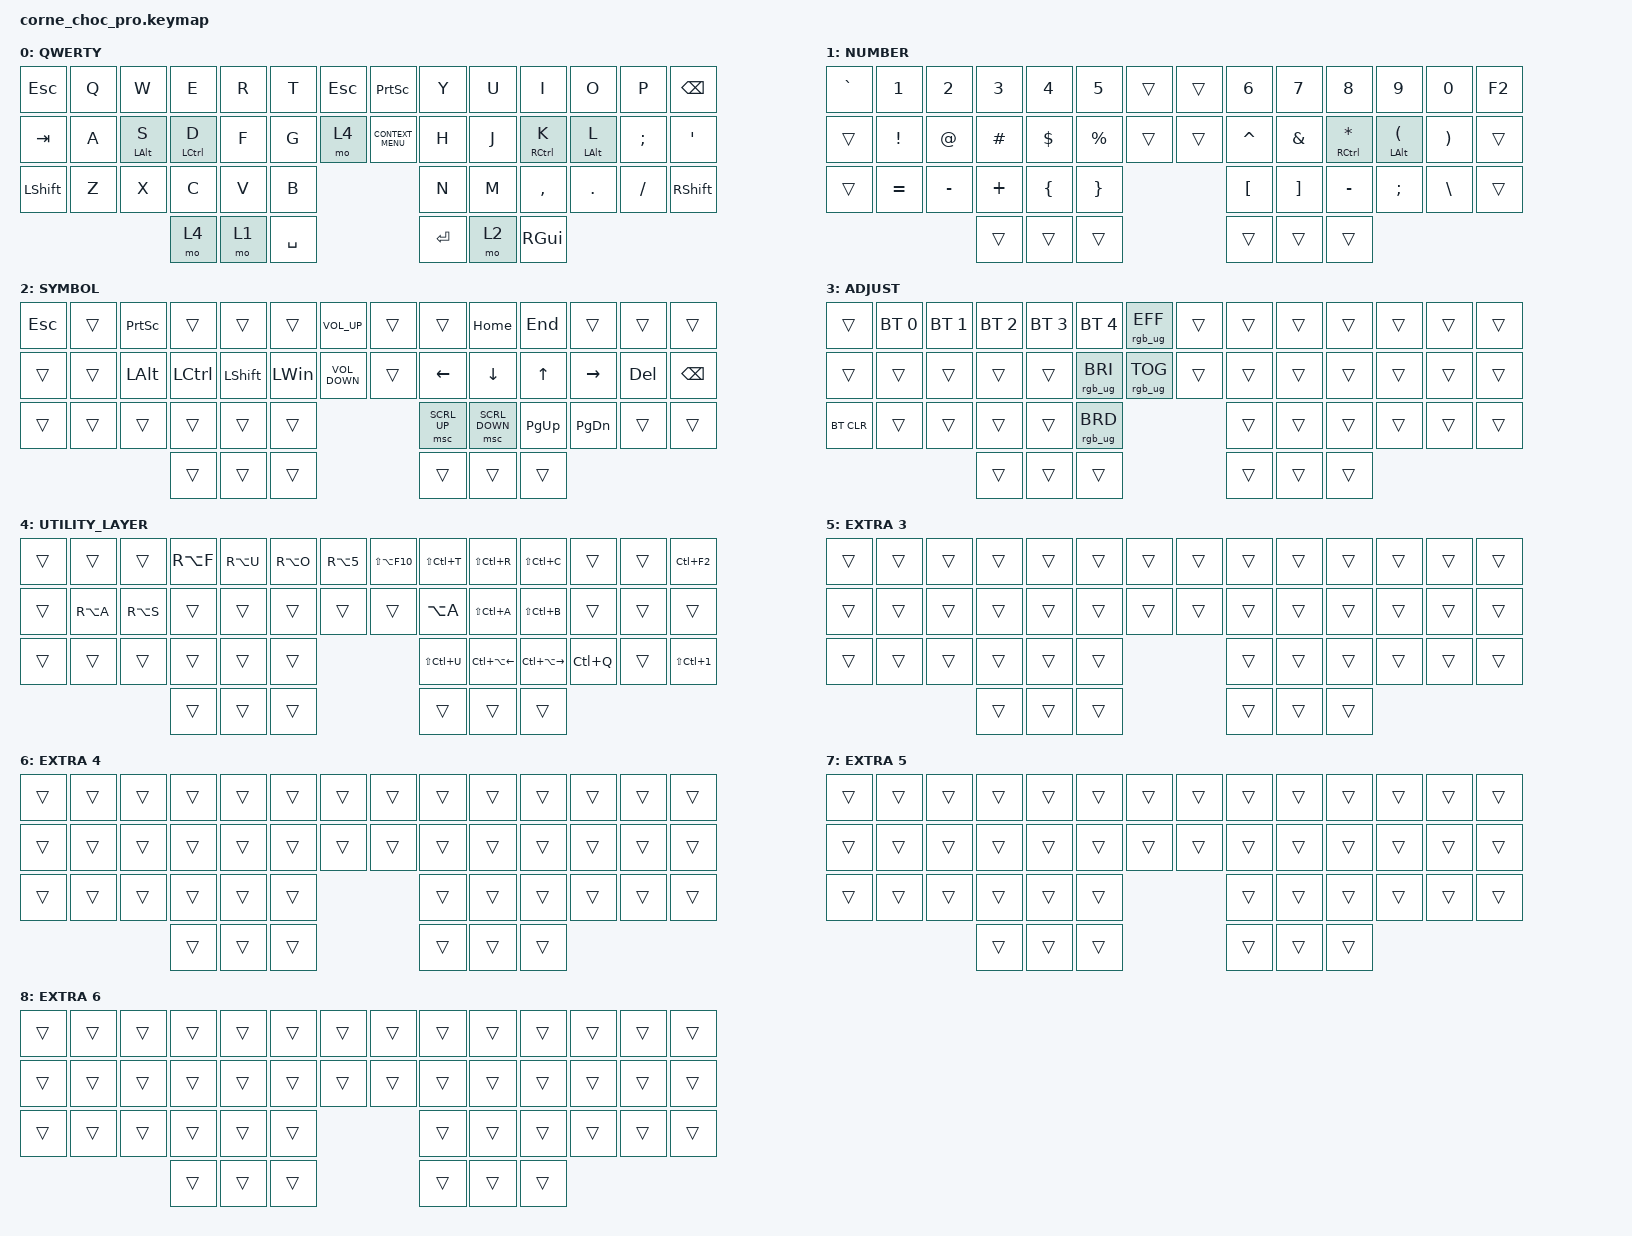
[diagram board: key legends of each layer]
/*
 * Copyright (c) 2020 The ZMK Contributors
 *
 * SPDX-License-Identifier: MIT
 */

#include <behaviors.dtsi>
#include <dt-bindings/zmk/bt.h>
#include <dt-bindings/zmk/keys.h>
#include <dt-bindings/zmk/pointing.h>
#include <dt-bindings/zmk/rgb.h>
#include "keys_de.h"
#include "keys_fr.h"

/ {
    chosen { zmk,physical-layout = &default_layout; };
};

/ {
    behaviors {
        hrmRight: hrmRight {
            compatible = "zmk,behavior-hold-tap";
            label = "HRMRIGHT";
            bindings = <&kp>, <&kp>;

            #binding-cells = <2>;
            tapping-term-ms = <280>;
            quick-tap-ms = <175>;
            require-prior-idle-ms = <100>;
            flavor = "balanced";
            hold-trigger-on-release;
            hold-trigger-key-positions = <0 1 14 15 28 29 2 3 4 5 16 17 18 19 30 31 32 33 42>;
        };

        hrmLeft: hrmLeft {
            compatible = "zmk,behavior-hold-tap";
            label = "HRMLEFT";
            bindings = <&kp>, <&kp>;

            #binding-cells = <2>;
            tapping-term-ms = <280>;
            quick-tap-ms = <175>;
            require-prior-idle-ms = <100>;
            flavor = "balanced";
            hold-trigger-key-positions = <8 9 10 11 12 13 22 23 24 25 26 27 34 35 36 37 38 39 43>;
            hold-trigger-on-release;
        };
    };

    macros {
        accent_e: accent_e {
            compatible = "zmk,behavior-macro";
            #binding-cells = <0>;
            bindings =
                <&macro_press>,
                <&kp LEFT_ALT>,
                <&macro_tap>,
                <&kp KP_NUMBER_0 &kp KP_NUMBER_2 &kp KP_NUMBER_3 &kp KP_NUMBER_3>,
                <&macro_release>,
                <&kp LEFT_ALT>;

            label = "ACCENT_E";
            wait-ms = <20>;
            tap-ms = <20>;
        };

        mcr_eur: mcr_eur {
            compatible = "zmk,behavior-macro";
            #binding-cells = <0>;
            bindings =
                <&macro_press>,
                <&kp LEFT_ALT>,
                <&macro_tap>,
                <&kp KP_NUMBER_0 &kp KP_N1 &kp KP_N2 &kp KP_N8>,
                <&macro_release>,
                <&kp LEFT_ALT>;

            label = "MCR_EUR";
            wait-ms = <20>;
            tap-ms = <20>;
        };
    };

    keymap {
        compatible = "zmk,keymap";

        default_layer {
            display-name = "QWERTY";

            // --------------------------------------------------------------------------------
            // |  TAB |  Q  |  W  |  E  |  R  |  T  |  MUTE |  PP   |  Y  |  U   |  I  |  O  |  P  | BSPC |
            // | CTRL |  A  |  S  |  D  |  F  |  G  |  LALT |  RALT |  H  |  J   |  K  |  L  |  ;  |  '   |
            // | SHFT |  Z  |  X  |  C  |  V  |  B  |               |  N  |  M   |  ,  |  .  |  /  | ESC  |
            //                    | GUI | LWR | SPC |               | ENT | RSE  | ALT |

            bindings = <
&kp ESCAPE  &kp Q  &kp W                &kp E                    &kp R  &kp T      &kp ESCAPE  &kp PRINTSCREEN     &kp Y    &kp U  &kp I                      &kp O                 &kp P     &kp BSPC
&kp TAB     &kp A  &hrmLeft LEFT_ALT S  &hrmLeft LEFT_CONTROL D  &kp F  &kp G      &mo 4       &kp K_CONTEXT_MENU  &kp H    &kp J  &hrmRight RIGHT_CONTROL K  &hrmRight LEFT_ALT L  &kp SEMI  &kp SQT
&kp LSHFT   &kp Z  &kp X                &kp C                    &kp V  &kp B                                      &kp N    &kp M  &kp COMMA                  &kp DOT               &kp FSLH  &kp RIGHT_SHIFT
                                        &mo 4                    &mo 1  &kp SPACE                                  &kp RET  &mo 2  &kp RGUI
            >;
        };

        lower_layer {
            display-name = "NUMBER";

            // -----------------------------------------------------------------------------------------
            // |  TAB |  1  |  2  |  3  |  4  |  5    |  LCTRL | RCTRL |  6  |  7  |  8  |  9  |  0  | BSPC |
            // | CTRL | BT1 | BT2 | BT3 | BT4 | BT5   |  LALT  | RALT  | LFT | DWN |  UP | RGT |     |      |
            // | SHFT | BTCR| RGB | RST | BOOT| Unlock|        |       |     |     |     |     |     |      |
            //                    | GUI |     | SPC   |        | ENT   |     | ALT |

            bindings = <
&kp GRAVE  &kp N1           &kp N2       &kp N3     &kp N4          &kp N5           &trans  &trans  &kp N6            &kp N7             &kp N8                         &kp N9                               &kp N0                 &kp F2
&trans     &kp EXCLAMATION  &kp AT_SIGN  &kp POUND  &kp DOLLAR      &kp PERCENT      &trans  &trans  &kp CARET         &kp AMPERSAND      &hrmRight RIGHT_CONTROL ASTRK  &hrmRight LEFT_ALT LEFT_PARENTHESIS  &kp RIGHT_PARENTHESIS  &trans
&trans     &kp EQUAL        &kp MINUS    &kp PLUS   &kp LEFT_BRACE  &kp RIGHT_BRACE                  &kp LEFT_BRACKET  &kp RIGHT_BRACKET  &kp MINUS                      &kp SEMICOLON                        &kp BACKSLASH          &trans
                                         &trans     &trans          &trans                           &trans            &trans             &trans
            >;
        };

        raise_layer {
            display-name = "SYMBOL";

            // -----------------------------------------------------------------------------------------
            // |  TAB |  !  |  @  |  #  |  $  |  %  | LCTRL | RCTRL |  ^  |  &  |  *  |  (  |  )  | BSPC |
            // | CTRL |     |     |     |     |     |  LALT | RALT  |  -  |  =  |  [  |  ]  |  \  |  `   |
            // | SHFT |     |     |     |     |     |               |  _  |  +  |  {  |  }  | "|" |  ~   |
            //                    | GUI |     | SPC |               | ENT |     | ALT |

            bindings = <
&kp ESCAPE  &trans  &kp PRINTSCREEN  &trans            &trans          &trans    &kp C_VOLUME_UP    &trans  &trans        &kp HOME        &kp END       &trans           &trans      &trans
&trans      &trans  &kp LEFT_ALT     &kp LEFT_CONTROL  &kp LEFT_SHIFT  &kp LWIN  &kp C_VOLUME_DOWN  &trans  &kp LEFT      &kp DOWN_ARROW  &kp UP_ARROW  &kp RIGHT_ARROW  &kp DELETE  &kp BACKSPACE
&trans      &trans  &trans           &trans            &trans          &trans                               &msc SCRL_UP  &msc SCRL_DOWN  &kp PAGE_UP   &kp PAGE_DOWN    &trans      &trans
                                     &trans            &trans          &trans                               &trans        &trans          &trans
            >;
        };

        adjust_layer {
            display-name = "ADJUST";
            bindings = <
&trans      &bt BT_SEL 0  &bt BT_SEL 1  &bt BT_SEL 2  &bt BT_SEL 3  &bt BT_SEL 4     &rgb_ug RGB_EFF  &trans  &trans  &trans  &trans  &trans  &trans  &trans
&trans      &trans        &trans        &trans        &trans        &rgb_ug RGB_BRI  &rgb_ug RGB_TOG  &trans  &trans  &trans  &trans  &trans  &trans  &trans
&bt BT_CLR  &trans        &trans        &trans        &trans        &rgb_ug RGB_BRD                           &trans  &trans  &trans  &trans  &trans  &trans
                                        &trans        &trans        &trans                                    &trans  &trans  &trans
            >;
        };

        utility_layer {
            display-name = "UTILITY_LAYER";
            bindings = <
&trans  &trans     &trans     &kp RA(F)  &kp RA(U)  &kp RA(O)  &kp RA(NUMBER_5)  &kp LS(LA(F10))  &kp LS(LC(T))  &kp LS(LC(R))     &kp LS(LC(C))      &trans     &trans  &kp LC(F2)
&trans  &kp RA(A)  &kp RA(S)  &trans     &trans     &trans     &trans            &trans           &kp LA(A)      &kp LS(LC(A))     &kp LS(LC(B))      &trans     &trans  &trans
&trans  &trans     &trans     &trans     &trans     &trans                                        &kp LS(LC(U))  &kp LC(LA(LEFT))  &kp LC(LA(RIGHT))  &kp LC(Q)  &trans  &kp LS(LC(NUMBER_1))
                              &trans     &trans     &trans                                        &trans         &trans            &trans
            >;
        };

        extra_layer_3 {
            display-name = "EXTRA 3";
            bindings = <
&trans  &trans  &trans  &trans  &trans  &trans  &trans  &trans  &trans  &trans  &trans  &trans  &trans  &trans
&trans  &trans  &trans  &trans  &trans  &trans  &trans  &trans  &trans  &trans  &trans  &trans  &trans  &trans
&trans  &trans  &trans  &trans  &trans  &trans                  &trans  &trans  &trans  &trans  &trans  &trans
                        &trans  &trans  &trans                  &trans  &trans  &trans
            >;
        };

        extra_layer_4 {
            display-name = "EXTRA 4";
            bindings = <
&trans  &trans  &trans  &trans  &trans  &trans  &trans  &trans  &trans  &trans  &trans  &trans  &trans  &trans
&trans  &trans  &trans  &trans  &trans  &trans  &trans  &trans  &trans  &trans  &trans  &trans  &trans  &trans
&trans  &trans  &trans  &trans  &trans  &trans                  &trans  &trans  &trans  &trans  &trans  &trans
                        &trans  &trans  &trans                  &trans  &trans  &trans
            >;
        };

        extra_layer_5 {
            display-name = "EXTRA 5";
            bindings = <
&trans  &trans  &trans  &trans  &trans  &trans  &trans  &trans  &trans  &trans  &trans  &trans  &trans  &trans
&trans  &trans  &trans  &trans  &trans  &trans  &trans  &trans  &trans  &trans  &trans  &trans  &trans  &trans
&trans  &trans  &trans  &trans  &trans  &trans                  &trans  &trans  &trans  &trans  &trans  &trans
                        &trans  &trans  &trans                  &trans  &trans  &trans
            >;
        };

        extra_layer_6 {
            display-name = "EXTRA 6";
            bindings = <
&trans  &trans  &trans  &trans  &trans  &trans  &trans  &trans  &trans  &trans  &trans  &trans  &trans  &trans
&trans  &trans  &trans  &trans  &trans  &trans  &trans  &trans  &trans  &trans  &trans  &trans  &trans  &trans
&trans  &trans  &trans  &trans  &trans  &trans                  &trans  &trans  &trans  &trans  &trans  &trans
                        &trans  &trans  &trans                  &trans  &trans  &trans
            >;
        };
    };

    conditional_layers {
        compatible = "zmk,conditional-layers";

        adjust_layer {
            if-layers = <1 2>;
            then-layer = <3>;
        };
    };
};
